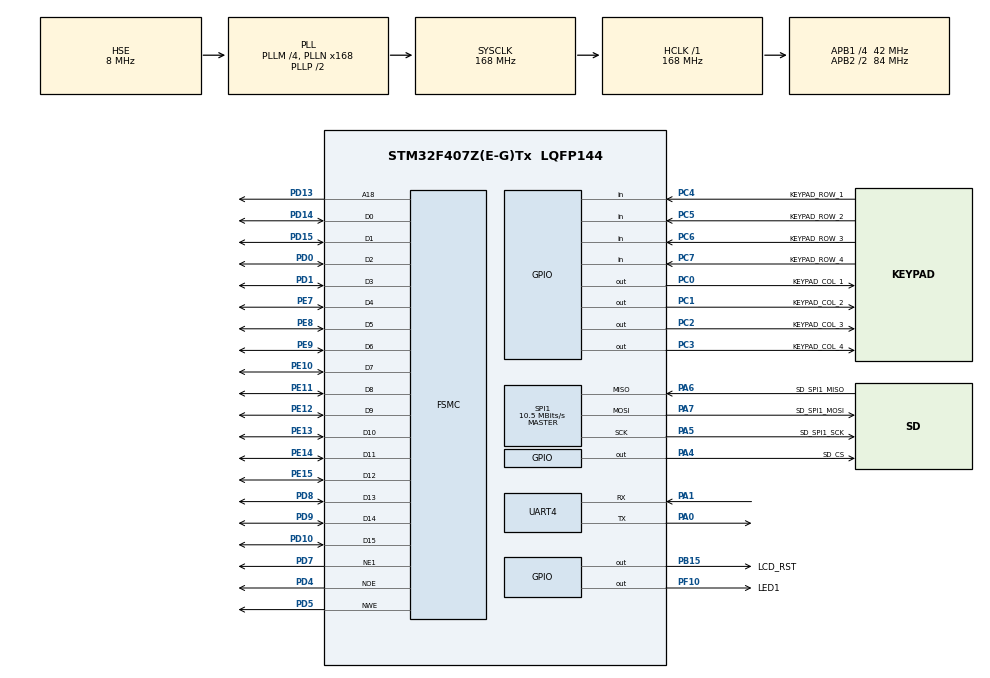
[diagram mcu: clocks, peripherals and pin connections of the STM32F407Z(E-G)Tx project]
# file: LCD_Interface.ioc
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FATFS._MAX_SS=512
FATFS._USE_LFN=2
FREERTOS.Queues01=keypadQueue,1,uint8_t,0,Static,keypadQueueBuffer,keypadQueueControlBlock
FREERTOS.Tasks01=LCDTask,24,2048,StartLCDTask,Default,NULL,Dynamic,NULL,NULL;keypadPoll,24,1024,startKeypadTask,Default,NULL,Dynamic,NULL,NULL
FSMC.AddressSetupTime1=6
FSMC.BusTurnAroundDuration1=0
FSMC.DataSetupTime1=6
FSMC.ExtendedMode1=FSMC_EXTENDED_MODE_DISABLE
Mcu.Family=STM32F4
Mcu.Name=STM32F407Z(E-G)Tx
Mcu.Package=LQFP144
NVIC.PriorityGroup=NVIC_PRIORITYGROUP_4
NVIC.SPI1_IRQn=true\:5\:0\:false\:false\:true\:true\:true\:true\:true
NVIC.TIM6_DAC_IRQn=true\:15\:0\:false\:false\:true\:false\:false\:true\:true
NVIC.TimeBase=TIM6_DAC_IRQn
NVIC.TimeBaseIP=TIM6
PA0-WKUP.Mode=Asynchronous
PA0-WKUP.Signal=UART4_TX
PA1.Mode=Asynchronous
PA1.Signal=UART4_RX
PA13.Mode=Serial_Wire
PA13.Signal=SYS_JTMS-SWDIO
PA14.Mode=Serial_Wire
PA14.Signal=SYS_JTCK-SWCLK
PA4.GPIO_Label=SD_CS
PA4.GPIO_PuPd=GPIO_PULLUP
PA4.GPIO_Speed=GPIO_SPEED_FREQ_HIGH
PA4.Signal=GPIO_Output
PA5.GPIO_Label=SD_SPI1_SCK
PA5.Mode=Full_Duplex_Master
PA5.Signal=SPI1_SCK
PA6.GPIO_Label=SD_SPI1_MISO
PA6.Mode=Full_Duplex_Master
PA6.Signal=SPI1_MISO
PA7.GPIO_Label=SD_SPI1_MOSI
PA7.Mode=Full_Duplex_Master
PA7.Signal=SPI1_MOSI
PB15.GPIO_Label=LCD_RST
PB15.Signal=GPIO_Output
PC0.GPIO_Label=KEYPAD_COL_1
PC0.GPIO_PuPd=GPIO_PULLUP
PC0.GPIO_Speed=GPIO_SPEED_FREQ_MEDIUM
PC0.Signal=GPIO_Output
PC1.GPIO_Label=KEYPAD_COL_2
PC1.GPIO_PuPd=GPIO_PULLUP
PC1.GPIO_Speed=GPIO_SPEED_FREQ_MEDIUM
PC1.Signal=GPIO_Output
PC2.GPIO_Label=KEYPAD_COL_3
PC2.GPIO_PuPd=GPIO_PULLUP
PC2.GPIO_Speed=GPIO_SPEED_FREQ_MEDIUM
PC2.Signal=GPIO_Output
PC3.GPIO_Label=KEYPAD_COL_4
PC3.GPIO_PuPd=GPIO_PULLUP
PC3.GPIO_Speed=GPIO_SPEED_FREQ_MEDIUM
PC3.Signal=GPIO_Output
PC4.GPIO_Label=KEYPAD_ROW_1
PC4.GPIO_PuPd=GPIO_PULLUP
PC4.Signal=GPIO_Input
PC5.GPIO_Label=KEYPAD_ROW_2
PC5.GPIO_PuPd=GPIO_PULLUP
PC5.Signal=GPIO_Input
PC6.GPIO_Label=KEYPAD_ROW_3
PC6.GPIO_PuPd=GPIO_PULLUP
PC6.Signal=GPIO_Input
PC7.GPIO_Label=KEYPAD_ROW_4
PC7.GPIO_PuPd=GPIO_PULLUP
PC7.Signal=GPIO_Input
PD0.Signal=FSMC_D2_DA2
PD1.Signal=FSMC_D3_DA3
PD10.Signal=FSMC_D15_DA15
PD13.Signal=FSMC_A18
PD14.Signal=FSMC_D0_DA0
PD15.Signal=FSMC_D1_DA1
PD4.GPIO_PuPd=GPIO_PULLUP
PD4.Signal=FSMC_NOE
PD5.GPIO_PuPd=GPIO_PULLUP
PD5.Signal=FSMC_NWE
PD7.Mode=NorPsramChipSelect1_1
PD7.Signal=FSMC_NE1
PD8.Signal=FSMC_D13_DA13
PD9.Signal=FSMC_D14_DA14
PE10.Signal=FSMC_D7_DA7
PE11.Signal=FSMC_D8_DA8
PE12.Signal=FSMC_D9_DA9
PE13.Signal=FSMC_D10_DA10
PE14.Signal=FSMC_D11_DA11
PE15.Signal=FSMC_D12_DA12
PE7.Signal=FSMC_D4_DA4
PE8.Signal=FSMC_D5_DA5
PE9.Signal=FSMC_D6_DA6
PF10.GPIO_Label=LED1
PF10.PinState=GPIO_PIN_SET
PF10.Signal=GPIO_Output
PH0-OSC_IN.Mode=HSE-External-Oscillator
PH0-OSC_IN.Signal=RCC_OSC_IN
PH1-OSC_OUT.Mode=HSE-External-Oscillator
PH1-OSC_OUT.Signal=RCC_OSC_OUT
ProjectManager.HeapSize=0x200
ProjectManager.StackSize=0x400
ProjectManager.TargetToolchain=MDK-ARM V5.32
RCC.48MHZClocksFreq_Value=48000000
RCC.AHBFreq_Value=168000000
RCC.APB1CLKDivider=RCC_HCLK_DIV4
RCC.APB1Freq_Value=42000000
RCC.APB1TimFreq_Value=84000000
RCC.APB2CLKDivider=RCC_HCLK_DIV2
RCC.APB2Freq_Value=84000000
RCC.APB2TimFreq_Value=168000000
RCC.CortexFreq_Value=168000000
RCC.HCLKFreq_Value=168000000
RCC.HSE_VALUE=8000000
RCC.HSI_VALUE=16000000
RCC.LSE_VALUE=32768
RCC.PLLM=4
RCC.PLLN=168
RCC.PLLQ=7
RCC.PLLSourceVirtual=RCC_PLLSOURCE_HSE
RCC.SYSCLKFreq_VALUE=168000000
RCC.SYSCLKSource=RCC_SYSCLKSOURCE_PLLCLK
RCC.VCOOutputFreq_Value=336000000
SH.FSMC_A18.0=FSMC_A18,A18_1
SH.FSMC_D0_DA0.0=FSMC_D0,16b-d1
SH.FSMC_D10_DA10.0=FSMC_D10,16b-d1
SH.FSMC_D11_DA11.0=FSMC_D11,16b-d1
SH.FSMC_D12_DA12.0=FSMC_D12,16b-d1
SH.FSMC_D13_DA13.0=FSMC_D13,16b-d1
SH.FSMC_D14_DA14.0=FSMC_D14,16b-d1
SH.FSMC_D15_DA15.0=FSMC_D15,16b-d1
SH.FSMC_D1_DA1.0=FSMC_D1,16b-d1
SH.FSMC_D2_DA2.0=FSMC_D2,16b-d1
SH.FSMC_D3_DA3.0=FSMC_D3,16b-d1
SH.FSMC_D4_DA4.0=FSMC_D4,16b-d1
SH.FSMC_D5_DA5.0=FSMC_D5,16b-d1
SH.FSMC_D6_DA6.0=FSMC_D6,16b-d1
SH.FSMC_D7_DA7.0=FSMC_D7,16b-d1
SH.FSMC_D8_DA8.0=FSMC_D8,16b-d1
SH.FSMC_D9_DA9.0=FSMC_D9,16b-d1
SH.FSMC_NOE.0=FSMC_NOE,Lcd1
SH.FSMC_NWE.0=FSMC_NWE,Lcd1
SPI1.BaudRatePrescaler=SPI_BAUDRATEPRESCALER_8
SPI1.CLKPhase=SPI_PHASE_1EDGE
SPI1.CalculateBaudRate=10.5 MBits/s
SPI1.Direction=SPI_DIRECTION_2LINES
SPI1.Mode=SPI_MODE_MASTER
SPI1.VirtualType=VM_MASTER
UART4.VirtualMode=Asynchronous
VP_FATFS_VS_Generic.Mode=User_defined
VP_FREERTOS_VS_CMSIS_V2.Mode=CMSIS_V2
VP_SYS_VS_tim6.Mode=TIM6
board=custom

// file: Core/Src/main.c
/* USER CODE BEGIN Header */
/**
  ******************************************************************************
  * @file           : main.c
  * @brief          : Main program body
  ******************************************************************************
  * @attention
  *
  * Copyright (c) 2022 STMicroelectronics.
  * All rights reserved.
  *
  * This software is licensed under terms that can be found in the LICENSE file
  * in the root directory of this software component.
  * If no LICENSE file comes with this software, it is provided AS-IS.
  *
  ******************************************************************************
  */
/* USER CODE END Header */
#include "main.h"
#include "cmsis_os.h"
#include "fatfs.h"

/* USER CODE BEGIN Includes */
#include "ssd1963_fsmc.h"
#include "MA_ILI9341.h"
#include "keypad.h"
#include "picture.h"
//#include "file_handling.h"
/* USER CODE END Includes */

typedef StaticQueue_t osStaticMessageQDef_t;

/* USER CODE BEGIN PD */
#define RST_HIGH HAL_GPIO_WritePin(LCD_RST_GPIO_Port, LCD_RST_Pin, GPIO_PIN_RESET)
#define RST_LOW HAL_GPIO_WritePin(LCD_RST_GPIO_Port, LCD_RST_Pin, GPIO_PIN_SET)
/* USER CODE END PD */

SPI_HandleTypeDef hspi1;

UART_HandleTypeDef huart4;

SRAM_HandleTypeDef hsram1;

/* Definitions for LCDTask */
osThreadId_t LCDTaskHandle;
const osThreadAttr_t LCDTask_attributes = {
  .name = "LCDTask",
  .stack_size = 2048 * 4,
  .priority = (osPriority_t) osPriorityNormal,
};
/* Definitions for keypadPoll */
osThreadId_t keypadPollHandle;
const osThreadAttr_t keypadPoll_attributes = {
  .name = "keypadPoll",
  .stack_size = 1024 * 4,
  .priority = (osPriority_t) osPriorityNormal,
};
/* Definitions for keypadQueue */
osMessageQueueId_t keypadQueueHandle;
uint8_t keypadQueueBuffer[ 1 * sizeof( uint8_t ) ];
osStaticMessageQDef_t keypadQueueControlBlock;
const osMessageQueueAttr_t keypadQueue_attributes = {
  .name = "keypadQueue",
  .cb_mem = &keypadQueueControlBlock,
  .cb_size = sizeof(keypadQueueControlBlock),
  .mq_mem = &keypadQueueBuffer,
  .mq_size = sizeof(keypadQueueBuffer)
};
/* USER CODE BEGIN PV */
FATFS fs;  // file system
FIL MyFile; // File
FILINFO fno;
FRESULT fresult;  // result
UINT br, bw;  // File read/write count
static uint8_t buffer[_MAX_SS]; /* a work buffer for the f_mkfs() */
/**** capacity related *****/
FATFS *pfs;
DWORD fre_clust;
uint32_t total, free_space;

//#include "file_handling.h"

FRESULT Format_SD (void)
{
    DIR dir;
    char *path = malloc(20*sizeof (char));
    sprintf (path, "%s","/");

    fresult = f_opendir(&dir, path);                       /* Open the directory */
    if (fresult == FR_OK)
    {
        for (;;)
        {
            fresult = f_readdir(&dir, &fno);                   /* Read a directory item */
            if (fresult != FR_OK || fno.fname[0] == 0) break;  /* Break on error or end of dir */
            if (fno.fattrib & AM_DIR)     /* It is a directory */
            {
            	if (!(strcmp ("SYSTEM~1", fno.fname))) continue;
            	fresult = f_unlink(fno.fname);
            	if (fresult == FR_DENIED) continue;
            }
            else
            {   /* It is a file. */
               fresult = f_unlink(fno.fname);
            }
        }
        f_closedir(&dir);
    }
    free(path);
    return fresult;
}
/* USER CODE END PV */

void SystemClock_Config(void);
static void MX_GPIO_Init(void);
static void MX_FSMC_Init(void);
static void MX_UART4_Init(void);
static void MX_SPI1_Init(void);
void StartLCDTask(void *argument);
void startKeypadTask(void *argument);

int main(void)
{

  /* MCU Configuration--------------------------------------------------------*/

  /* Reset of all peripherals, Initializes the Flash interface and the Systick. */
  HAL_Init();

  /* Configure the system clock */
  SystemClock_Config();

  /* Initialize all configured peripherals */
  MX_GPIO_Init();
  MX_FSMC_Init();
  MX_UART4_Init();
  MX_FATFS_Init();
  MX_SPI1_Init();
  /* USER CODE BEGIN 2 */
	HAL_Delay(1000);
	SD_CS_HIGH();

  /* Send dummy byte 0xFF, 10 times with CS high */
  /* Rise CS and MOSI for 80 clocks cycles */
  for (uint8_t counter = 0; counter <= 9; counter++)
  {
    /* Send dummy byte 0xFF */
    SD_IO_WriteByte(0xFF);
	}
	//while(1)
		//;

	/*LCD_Init();HAL_Delay(1000);
	LCD_Rect_Fill(0, 0, LCD_WIDTH, LCD_HEIGHT, RED);

	HAL_Delay(100);
	LCD_Rect_Fill(0, 0, LCD_WIDTH, LCD_HEIGHT, BLUE);
	HAL_Delay(100);
	LCD_Rect_Fill(0, 0, LCD_WIDTH, LCD_HEIGHT, GREEN);
	HAL_Delay(100);
	LCD_Rect_Fill(0, 0, LCD_WIDTH, LCD_HEIGHT, BLACK);
	LCD_Rect_Fill(0, 0, LCD_WIDTH, LCD_HEIGHT, LIME);*/

	//SSD1963_printImage(200, 200, 220, 214, Screenshot, sizeof(Screenshot));
	//HAL_Delay(100);
	uint32_t total = 0;
	/*f_getfree("", &fre_clust, &pfs);

    total = (uint32_t)((pfs->n_fatent - 2) * pfs->csize * 0.5);

		if(total > 0)
		{
			LCD_Rect_Fill(0, 0, LCD_WIDTH, LCD_HEIGHT, GREEN);
		HAL_Delay(2000);
		}*/
		uint32_t byteswritten, bytesread;                     /* File write/read counts */
  uint8_t wtext[] = "This is STM32 working with FatFs"; /* File write buffer */
  uint8_t rtext[100];
	char driv[4] = "0:";
	fresult = f_mount(&fs, (TCHAR const*)USERPath/*driv*/, 1);//HAL_Delay(5000);
	if (fresult != FR_OK)
	{
		LCD_Rect_Fill(0, 0, LCD_WIDTH, LCD_HEIGHT, RED);
		HAL_Delay(2000);
	}
	else
	{
		fresult = f_mkfs((TCHAR const*)USERPath, FM_ANY, 0, buffer, sizeof(buffer));
		if(fresult == FR_OK)
      {
        LCD_Rect_Fill(0, 0, LCD_WIDTH, LCD_HEIGHT, BLUE);
				fresult = f_open(&MyFile, "STM32.TXT", FA_CREATE_ALWAYS | FA_WRITE);
				if(fresult == FR_OK)
        {
          /* 'STM32.TXT' file Open for write Error */
          LCD_Rect_Fill(0, 0, LCD_WIDTH, LCD_HEIGHT, GREEN);
					fresult = f_write(&MyFile, wtext, sizeof(wtext), (void *)&byteswritten);

          if((byteswritten == 0) || (fresult != FR_OK))
          {
            /* 'STM32.TXT' file Write or EOF Error */
            LCD_Rect_Fill(0, 0, LCD_WIDTH, LCD_HEIGHT, BLACK);
          }
        }
        //Error_Handler();
      }
	}

	//HAL_Delay(2000);
	//--Format_SD();
	/*if(mount_sd())
	{
		LCD_Rect_Fill(0, 0, LCD_WIDTH, LCD_HEIGHT, GREEN);
		HAL_Delay(2000);
	}
	else
	{
		LCD_Rect_Fill(0, 0, LCD_WIDTH, LCD_HEIGHT, RED);
		HAL_Delay(2000);
	}*/
	/*while(1)
	{
		HAL_Delay(2000);
	}*/

  /* USER CODE END 2 */

  /* Init scheduler */
  osKernelInitialize();

  /* Create the queue(s) */
  /* creation of keypadQueue */
  keypadQueueHandle = osMessageQueueNew (1, sizeof(uint8_t), &keypadQueue_attributes);

  /* Create the thread(s) */
  /* creation of LCDTask */
  LCDTaskHandle = osThreadNew(StartLCDTask, NULL, &LCDTask_attributes);

  /* creation of keypadPoll */
  keypadPollHandle = osThreadNew(startKeypadTask, NULL, &keypadPoll_attributes);

  /* Start scheduler */
  osKernelStart();

  /* We should never get here as control is now taken by the scheduler */
  /* Infinite loop */
  while (1)
  {

  }
}

void SystemClock_Config(void)
{
  RCC_OscInitTypeDef RCC_OscInitStruct = {0};
  RCC_ClkInitTypeDef RCC_ClkInitStruct = {0};

  /** Configure the main internal regulator output voltage
  */
  __HAL_RCC_PWR_CLK_ENABLE();
  __HAL_PWR_VOLTAGESCALING_CONFIG(PWR_REGULATOR_VOLTAGE_SCALE1);

  /** Initializes the RCC Oscillators according to the specified parameters
  * in the RCC_OscInitTypeDef structure.
  */
  RCC_OscInitStruct.OscillatorType = RCC_OSCILLATORTYPE_HSE;
  RCC_OscInitStruct.HSEState = RCC_HSE_ON;
  RCC_OscInitStruct.PLL.PLLState = RCC_PLL_ON;
  RCC_OscInitStruct.PLL.PLLSource = RCC_PLLSOURCE_HSE;
  RCC_OscInitStruct.PLL.PLLM = 4;
  RCC_OscInitStruct.PLL.PLLN = 168;
  RCC_OscInitStruct.PLL.PLLP = RCC_PLLP_DIV2;
  RCC_OscInitStruct.PLL.PLLQ = 7;
  if (HAL_RCC_OscConfig(&RCC_OscInitStruct) != HAL_OK)
  {
    Error_Handler();
  }

  /** Initializes the CPU, AHB and APB buses clocks
  */
  RCC_ClkInitStruct.ClockType = RCC_CLOCKTYPE_HCLK|RCC_CLOCKTYPE_SYSCLK
                              |RCC_CLOCKTYPE_PCLK1|RCC_CLOCKTYPE_PCLK2;
  RCC_ClkInitStruct.SYSCLKSource = RCC_SYSCLKSOURCE_PLLCLK;
  RCC_ClkInitStruct.AHBCLKDivider = RCC_SYSCLK_DIV1;
  RCC_ClkInitStruct.APB1CLKDivider = RCC_HCLK_DIV4;
  RCC_ClkInitStruct.APB2CLKDivider = RCC_HCLK_DIV2;

  if (HAL_RCC_ClockConfig(&RCC_ClkInitStruct, FLASH_LATENCY_5) != HAL_OK)
  {
    Error_Handler();
  }
}

static void MX_SPI1_Init(void)
{

  /* SPI1 parameter configuration*/
  hspi1.Instance = SPI1;
  hspi1.Init.Mode = SPI_MODE_MASTER;
  hspi1.Init.Direction = SPI_DIRECTION_2LINES;
  hspi1.Init.DataSize = SPI_DATASIZE_8BIT;
  hspi1.Init.CLKPolarity = SPI_POLARITY_LOW;
  hspi1.Init.CLKPhase = SPI_PHASE_1EDGE;
  hspi1.Init.NSS = SPI_NSS_SOFT;
  hspi1.Init.BaudRatePrescaler = SPI_BAUDRATEPRESCALER_8;
  hspi1.Init.FirstBit = SPI_FIRSTBIT_MSB;
  hspi1.Init.TIMode = SPI_TIMODE_DISABLE;
  hspi1.Init.CRCCalculation = SPI_CRCCALCULATION_DISABLE;
  hspi1.Init.CRCPolynomial = 10;
  if (HAL_SPI_Init(&hspi1) != HAL_OK)
  {
    Error_Handler();
  }

}

static void MX_UART4_Init(void)
{

  huart4.Instance = UART4;
  huart4.Init.BaudRate = 115200;
  huart4.Init.WordLength = UART_WORDLENGTH_8B;
  huart4.Init.StopBits = UART_STOPBITS_1;
  huart4.Init.Parity = UART_PARITY_NONE;
  huart4.Init.Mode = UART_MODE_TX_RX;
  huart4.Init.HwFlowCtl = UART_HWCONTROL_NONE;
  huart4.Init.OverSampling = UART_OVERSAMPLING_16;
  if (HAL_UART_Init(&huart4) != HAL_OK)
  {
    Error_Handler();
  }

}

static void MX_GPIO_Init(void)
{
  GPIO_InitTypeDef GPIO_InitStruct = {0};

  /* GPIO Ports Clock Enable */
  __HAL_RCC_GPIOF_CLK_ENABLE();
  __HAL_RCC_GPIOH_CLK_ENABLE();
  __HAL_RCC_GPIOC_CLK_ENABLE();
  __HAL_RCC_GPIOA_CLK_ENABLE();
  __HAL_RCC_GPIOE_CLK_ENABLE();
  __HAL_RCC_GPIOB_CLK_ENABLE();
  __HAL_RCC_GPIOD_CLK_ENABLE();

  /*Configure GPIO pin Output Level */
  HAL_GPIO_WritePin(LED1_GPIO_Port, LED1_Pin, GPIO_PIN_SET);

  /*Configure GPIO pin Output Level */
  HAL_GPIO_WritePin(GPIOC, KEYPAD_COL_1_Pin|KEYPAD_COL_2_Pin|KEYPAD_COL_3_Pin|KEYPAD_COL_4_Pin, GPIO_PIN_RESET);

  /*Configure GPIO pin Output Level */
  HAL_GPIO_WritePin(SD_CS_GPIO_Port, SD_CS_Pin, GPIO_PIN_RESET);

  /*Configure GPIO pin Output Level */
  HAL_GPIO_WritePin(LCD_RST_GPIO_Port, LCD_RST_Pin, GPIO_PIN_RESET);

  /*Configure GPIO pin : LED1_Pin */
  GPIO_InitStruct.Pin = LED1_Pin;
  GPIO_InitStruct.Mode = GPIO_MODE_OUTPUT_PP;
  GPIO_InitStruct.Pull = GPIO_NOPULL;
  GPIO_InitStruct.Speed = GPIO_SPEED_FREQ_LOW;
  HAL_GPIO_Init(LED1_GPIO_Port, &GPIO_InitStruct);

  /*Configure GPIO pins : KEYPAD_COL_1_Pin KEYPAD_COL_2_Pin KEYPAD_COL_3_Pin KEYPAD_COL_4_Pin */
  GPIO_InitStruct.Pin = KEYPAD_COL_1_Pin|KEYPAD_COL_2_Pin|KEYPAD_COL_3_Pin|KEYPAD_COL_4_Pin;
  GPIO_InitStruct.Mode = GPIO_MODE_OUTPUT_PP;
  GPIO_InitStruct.Pull = GPIO_PULLUP;
  GPIO_InitStruct.Speed = GPIO_SPEED_FREQ_MEDIUM;
  HAL_GPIO_Init(GPIOC, &GPIO_InitStruct);

  /*Configure GPIO pin : SD_CS_Pin */
  GPIO_InitStruct.Pin = SD_CS_Pin;
  GPIO_InitStruct.Mode = GPIO_MODE_OUTPUT_PP;
  GPIO_InitStruct.Pull = GPIO_PULLUP;
  GPIO_InitStruct.Speed = GPIO_SPEED_FREQ_HIGH;
  HAL_GPIO_Init(SD_CS_GPIO_Port, &GPIO_InitStruct);

  /*Configure GPIO pins : KEYPAD_ROW_1_Pin KEYPAD_ROW_2_Pin KEYPAD_ROW_3_Pin KEYPAD_ROW_4_Pin */
  GPIO_InitStruct.Pin = KEYPAD_ROW_1_Pin|KEYPAD_ROW_2_Pin|KEYPAD_ROW_3_Pin|KEYPAD_ROW_4_Pin;
  GPIO_InitStruct.Mode = GPIO_MODE_INPUT;
  GPIO_InitStruct.Pull = GPIO_PULLUP;
  HAL_GPIO_Init(GPIOC, &GPIO_InitStruct);

  /*Configure GPIO pin : LCD_RST_Pin */
  GPIO_InitStruct.Pin = LCD_RST_Pin;
  GPIO_InitStruct.Mode = GPIO_MODE_OUTPUT_PP;
  GPIO_InitStruct.Pull = GPIO_NOPULL;
  GPIO_InitStruct.Speed = GPIO_SPEED_FREQ_LOW;
  HAL_GPIO_Init(LCD_RST_GPIO_Port, &GPIO_InitStruct);

}

/* FSMC initialization function */
static void MX_FSMC_Init(void)
{

  FSMC_NORSRAM_TimingTypeDef Timing = {0};

  /** Perform the SRAM1 memory initialization sequence
  */
  hsram1.Instance = FSMC_NORSRAM_DEVICE;
  hsram1.Extended = FSMC_NORSRAM_EXTENDED_DEVICE;
  /* hsram1.Init */
  hsram1.Init.NSBank = FSMC_NORSRAM_BANK1;
  hsram1.Init.DataAddressMux = FSMC_DATA_ADDRESS_MUX_DISABLE;
  hsram1.Init.MemoryType = FSMC_MEMORY_TYPE_SRAM;
  hsram1.Init.MemoryDataWidth = FSMC_NORSRAM_MEM_BUS_WIDTH_16;
  hsram1.Init.BurstAccessMode = FSMC_BURST_ACCESS_MODE_DISABLE;
  hsram1.Init.WaitSignalPolarity = FSMC_WAIT_SIGNAL_POLARITY_LOW;
  hsram1.Init.WrapMode = FSMC_WRAP_MODE_DISABLE;
  hsram1.Init.WaitSignalActive = FSMC_WAIT_TIMING_BEFORE_WS;
  hsram1.Init.WriteOperation = FSMC_WRITE_OPERATION_ENABLE;
  hsram1.Init.WaitSignal = FSMC_WAIT_SIGNAL_DISABLE;
  hsram1.Init.ExtendedMode = FSMC_EXTENDED_MODE_DISABLE;
  hsram1.Init.AsynchronousWait = FSMC_ASYNCHRONOUS_WAIT_DISABLE;
  hsram1.Init.WriteBurst = FSMC_WRITE_BURST_DISABLE;
  hsram1.Init.PageSize = FSMC_PAGE_SIZE_NONE;
  /* Timing */
  Timing.AddressSetupTime = 6;
  Timing.AddressHoldTime = 15;
  Timing.DataSetupTime = 6;
  Timing.BusTurnAroundDuration = 0;
  Timing.CLKDivision = 16;
  Timing.DataLatency = 17;
  Timing.AccessMode = FSMC_ACCESS_MODE_A;
  /* ExtTiming */

  if (HAL_SRAM_Init(&hsram1, &Timing, NULL) != HAL_OK)
  {
    Error_Handler( );
  }

}

/* USER CODE BEGIN 4 */
volatile uint8_t FatFsCnt =  0 ;

void  SDTimer_Handler ( void )
{
  /*if ( Timer1 >  0 )
    Timer1 -- ;

  if ( Timer2 >  0 )
    Timer2 -- ; */
}
/* USER CODE END 4 */

void StartLCDTask(void *argument)
{
  /* USER CODE BEGIN 5 */
	ssd196xMainScreen();
  /* Infinite loop */
	uint8_t icon[1] = {KEYPAD_NOT_PRESSED};
	osStatus_t status = osStatusReserved;
  for(;;)
  {
		//LCD_Rect_Fill(0, 0, LCD_WIDTH, LCD_HEIGHT, RED);
		status = osMessageQueueGet(keypadQueueHandle, icon, NULL, 200);   // wait for message
    if (status == osOK) {
			if(icon[0] != 0xFF)
			{
				selectIcon(icon[0]);
				icon[0] = KEYPAD_NOT_PRESSED;
			}
		}
    osDelay(1);
  }
  /* USER CODE END 5 */
}

void startKeypadTask(void *argument)
{
  /* USER CODE BEGIN startKeypadTask */
	KEYPAD_Init(KEYPAD_Type_Large);
	KEYPAD_Button_t buttonPressed = KEYPAD_Button_NOT_PRESSED;
  /* Infinite loop */
  for(;;)
  {
		KEYPAD_Update();
    osDelay(1);
		buttonPressed = KEYPAD_Read();
		osDelay(1);
		if(buttonPressed != KEYPAD_Button_NOT_PRESSED)
		{
			keypadQueueBuffer[0] = buttonPressed;
			osMessageQueuePut (keypadQueueHandle, keypadQueueBuffer, 0, 200);
		}
		osDelay(1);
  }
  /* USER CODE END startKeypadTask */
}

void HAL_TIM_PeriodElapsedCallback(TIM_HandleTypeDef *htim)
{
  if (htim->Instance == TIM6) {
    HAL_IncTick();
  }
  /* USER CODE BEGIN Callback 1 */
	/*FatFsCnt ++ ;
  if ( FatFsCnt >=  10 )
  {
    FatFsCnt =  0 ;
    SDTimer_Handler ( ) ;
  }  */
  /* USER CODE END Callback 1 */
}

void Error_Handler(void)
{
  __disable_irq();
  while (1)
  {
  }
}
